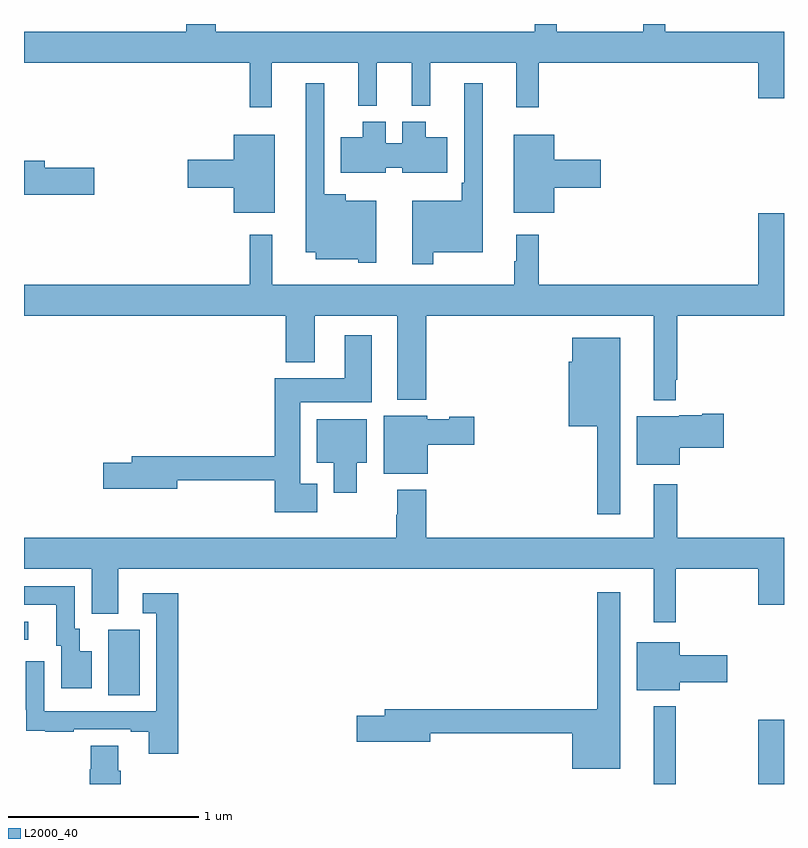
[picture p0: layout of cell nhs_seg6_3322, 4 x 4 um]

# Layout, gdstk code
import gdstk
lib = gdstk.Library(unit=1e-6, precision=1e-09)
def R(c, l, rs):  # rectangles x0, y0, x1, y1
    for r in rs: c.add(gdstk.rectangle(r[:2], r[2:], *l))
def P(c, l, *ps):  # polygons
    for p in ps: c.add(gdstk.Polygon(p, *l))
L2000_40 = (2000, 40)

nhs_seg6_3322 = lib.new_cell('nhs_seg6_3322')
R(nhs_seg6_3322, L2000_40, [(308.315,983.5,308.429,983.908), (308.864,983.5,309,983.839), (305.444,983.968,305.608,984.312), (305,984.258,305.023,984.354)])
P(nhs_seg6_3322, L2000_40, [(306.305,987.296),(306.758,987.296),(306.758,987.071),(306.857,987.071),(306.857,987.296),(307.04,987.296),(307.04,987.071),(307.139,987.071),(307.139,987.296),(307.592,987.296),(307.592,987.063),(307.709,987.063),(307.709,987.296),(308.864,987.296),(308.864,987.108),(309,987.108),(309,987.46),(308.375,987.46),(308.375,987.5),(308.258,987.5),(308.258,987.46),(307.805,987.46),(307.805,987.5),(307.687,987.5),(307.687,987.46),(306.008,987.46),(306.008,987.5),(305.855,987.5),(305.855,987.46),(305,987.46),(305,987.296),(306.187,987.296),(306.187,987.063),(306.305,987.063)],
  [(306.853,986.569),(306.694,986.569),(306.694,986.605),(306.579,986.605),(306.579,987.187),(306.482,987.187),(306.482,986.3),(306.536,986.3),(306.536,986.261),(306.759,986.261),(306.759,986.243),(306.853,986.243)],
  [(307.153,986.3),(307.414,986.3),(307.414,987.187),(307.317,987.187),(307.317,986.665),(307.305,986.665),(307.305,986.569),(307.044,986.569),(307.044,986.235),(307.153,986.235)],
  [(306.904,986.743),(306.992,986.743),(306.992,986.717),(307.228,986.717),(307.228,986.905),(307.114,986.905),(307.114,986.986),(306.992,986.986),(306.992,986.872),(306.904,986.872),(306.904,986.986),(306.782,986.986),(306.782,986.905),(306.668,986.905),(306.668,986.717),(306.904,986.717)],
  [(307.792,986.639),(308.035,986.639),(308.035,986.786),(307.792,986.786),(307.792,986.917),(307.577,986.917),(307.577,986.507),(307.792,986.507)],
  [(306.319,986.917),(306.104,986.917),(306.104,986.786),(305.862,986.786),(305.862,986.639),(306.104,986.639),(306.104,986.507),(306.319,986.507)],
  [(305.371,986.744),(305.11,986.744),(305.11,986.78),(305,986.78),(305,986.602),(305.371,986.602)],
  [(308.429,985.627),(308.437,985.627),(308.437,985.964),(309,985.964),(309,986.503),(308.864,986.503),(308.864,986.128),(307.709,986.128),(307.709,986.392),(307.592,986.392),(307.592,986.252),(307.581,986.252),(307.581,986.128),(306.306,986.128),(306.306,986.392),(306.187,986.392),(306.187,986.128),(305,986.128),(305,985.964),(306.377,985.964),(306.377,985.721),(306.529,985.721),(306.529,985.964),(306.965,985.964),(306.965,985.523),(307.118,985.523),(307.118,985.964),(308.315,985.964),(308.315,985.52),(308.429,985.52)],
  [(306.544,985.081),(306.454,985.081),(306.454,985.508),(306.829,985.508),(306.829,985.861),(306.689,985.861),(306.689,985.636),(306.32,985.636),(306.32,985.226),(305.567,985.226),(305.567,985.19),(305.418,985.19),(305.418,985.055),(305.806,985.055),(305.806,985.098),(306.32,985.098),(306.32,984.929),(306.544,984.929)],
  [(308.137,985.849),(307.886,985.849),(307.886,985.722),(307.868,985.722),(307.868,985.382),(308.016,985.382),(308.016,984.921),(308.137,984.921)],
  [(308.452,985.27),(308.683,985.27),(308.683,985.448),(308.57,985.448),(308.57,985.441),(308.448,985.441),(308.448,985.435),(308.225,985.435),(308.225,985.181),(308.452,985.181)],
  [(307.126,985.286),(307.369,985.286),(307.369,985.433),(307.239,985.433),(307.239,985.42),(307.122,985.42),(307.122,985.438),(306.893,985.438),(306.893,985.133),(307.126,985.133)],
  [(306.751,985.19),(306.805,985.19),(306.805,985.42),(306.542,985.42),(306.542,985.19),(306.629,985.19),(306.629,985.032),(306.751,985.032)],
  [(306.965,985.048),(306.965,984.917),(306.958,984.917),(306.958,984.796),(305,984.796),(305,984.632),(305.357,984.632),(305.357,984.397),(305.497,984.397),(305.497,984.632),(308.315,984.632),(308.315,984.351),(308.429,984.351),(308.429,984.632),(308.864,984.632),(308.864,984.444),(309,984.444),(309,984.796),(308.437,984.796),(308.437,985.078),(308.315,985.078),(308.315,984.796),(307.118,984.796),(307.118,985.048)],
  [(305.356,984.199),(305.293,984.199),(305.293,984.318),(305.268,984.318),(305.268,984.54),(305,984.54),(305,984.444),(305.171,984.444),(305.171,984.228),(305.195,984.228),(305.195,984.003),(305.356,984.003)],
  [(308.137,984.508),(308.016,984.508),(308.016,983.894),(306.899,983.894),(306.899,983.858),(306.75,983.858),(306.75,983.723),(307.138,983.723),(307.138,983.766),(307.886,983.766),(307.886,983.579),(308.137,983.579)],
  [(305.813,984.505),(305.625,984.505),(305.625,984.399),(305.697,984.399),(305.697,983.883),(305.106,983.883),(305.106,984.145),(305.01,984.145),(305.01,983.89),(305.011,983.89),(305.011,983.781),(305.113,983.781),(305.113,983.775),(305.261,983.775),(305.261,983.787),(305.561,983.787),(305.561,983.775),(305.657,983.775),(305.657,983.658),(305.813,983.658)],
  [(308.452,984.035),(308.701,984.035),(308.701,984.177),(308.452,984.177),(308.452,984.247),(308.225,984.247),(308.225,983.993),(308.452,983.993)],
  [(305.51,983.57),(305.497,983.57),(305.497,983.702),(305.35,983.702),(305.35,983.577),(305.345,983.577),(305.345,983.5),(305.51,983.5)])

lib.write_gds('nhs_seg6_3322.gds')
